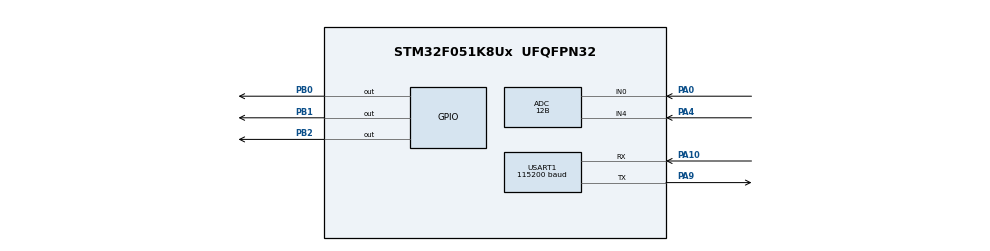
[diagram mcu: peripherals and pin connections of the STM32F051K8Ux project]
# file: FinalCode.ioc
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ADC.ClockPrescaler=ADC_CLOCK_ASYNC_DIV1
ADC.ContinuousConvMode=DISABLE
ADC.DMAContinuousRequests=DISABLE
ADC.DataAlign=ADC_DATAALIGN_RIGHT
ADC.DiscontinuousConvMode=ENABLE
ADC.EOCSelection=ADC_EOC_SINGLE_CONV
ADC.EnableAnalogWatchDog=false
ADC.ExternalTrigConv=ADC_SOFTWARE_START
ADC.ExternalTrigConvEdge=ADC_EXTERNALTRIGCONVEDGE_NONE
ADC.LowPowerAutoPowerOff=DISABLE
ADC.LowPowerAutoWait=DISABLE
ADC.Overrun=ADC_OVR_DATA_PRESERVED
ADC.Resolution=ADC_RESOLUTION_12B
ADC.SamplingTime=ADC_SAMPLETIME_1CYCLE_5
ADC.ScanConvMode=ADC_SCAN_DIRECTION_FORWARD
Mcu.Family=STM32F0
Mcu.Name=STM32F051K8Ux
Mcu.Package=UFQFPN32
PA0.Mode=IN0
PA0.Signal=ADC_IN0
PA10.Mode=Asynchronous
PA10.Signal=USART1_RX
PA4.Mode=IN4
PA4.Signal=ADC_IN4
PA9.Mode=Asynchronous
PA9.Signal=USART1_TX
PB0.Signal=GPIO_Output
PB1.Signal=GPIO_Output
PB2.Signal=GPIO_Output
ProjectManager.HeapSize=0x200
ProjectManager.StackSize=0x400
ProjectManager.TargetToolchain=MDK-ARM V5
USART1.BaudRate=115200
USART1.VirtualMode-Asynchronous=VM_ASYNC
board=FinalCode

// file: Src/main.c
/**
  ******************************************************************************
  * File Name          : main.c
  * Description        : Main program body
  ******************************************************************************
  ** This notice applies to any and all portions of this file
  * that are not between comment pairs USER CODE BEGIN and
  * USER CODE END. Other portions of this file, whether
  * inserted by the user or by software development tools
  * are owned by their respective copyright owners.
  *
  * COPYRIGHT(c) 2021 STMicroelectronics
  *
  * Redistribution and use in source and binary forms, with or without modification,
  * are permitted provided that the following conditions are met:
  *   1. Redistributions of source code must retain the above copyright notice,
  *      this list of conditions and the following disclaimer.
  *   2. Redistributions in binary form must reproduce the above copyright notice,
  *      this list of conditions and the following disclaimer in the documentation
  *      and/or other materials provided with the distribution.
  *   3. Neither the name of STMicroelectronics nor the names of its contributors
  *      may be used to endorse or promote products derived from this software
  *      without specific prior written permission.
  *
  * THIS SOFTWARE IS PROVIDED BY THE COPYRIGHT HOLDERS AND CONTRIBUTORS "AS IS"
  * AND ANY EXPRESS OR IMPLIED WARRANTIES, INCLUDING, BUT NOT LIMITED TO, THE
  * IMPLIED WARRANTIES OF MERCHANTABILITY AND FITNESS FOR A PARTICULAR PURPOSE ARE
  * DISCLAIMED. IN NO EVENT SHALL THE COPYRIGHT HOLDER OR CONTRIBUTORS BE LIABLE
  * FOR ANY DIRECT, INDIRECT, INCIDENTAL, SPECIAL, EXEMPLARY, OR CONSEQUENTIAL
  * DAMAGES (INCLUDING, BUT NOT LIMITED TO, PROCUREMENT OF SUBSTITUTE GOODS OR
  * SERVICES; LOSS OF USE, DATA, OR PROFITS; OR BUSINESS INTERRUPTION) HOWEVER
  * CAUSED AND ON ANY THEORY OF LIABILITY, WHETHER IN CONTRACT, STRICT LIABILITY,
  * OR TORT (INCLUDING NEGLIGENCE OR OTHERWISE) ARISING IN ANY WAY OUT OF THE USE
  * OF THIS SOFTWARE, EVEN IF ADVISED OF THE POSSIBILITY OF SUCH DAMAGE.
  *
  ******************************************************************************
  */
#include "main.h"
#include "stm32f0xx_hal.h"
#include "adc.h"
#include "usart.h"
#include "gpio.h"

/* USER CODE BEGIN Includes */
#include "string.h"
#define LOW 		"Safe"
#define MID 		"Fine"
#define HIGH 		"Danger!!!!"
#define GREEN 	GPIO_PIN_0
#define BLUE 		GPIO_PIN_1
#define YELLOW	GPIO_PIN_2
/* USER CODE END Includes */

/* USER CODE BEGIN PV */
/* Private variables ---------------------------------------------------------*/

/* USER CODE END PV */

void SystemClock_Config(void);

/* USER CODE BEGIN PFP */
/* Private function prototypes -----------------------------------------------*/

/* USER CODE END PFP */

/* USER CODE BEGIN 0 */

/* 重定向UART的发送到标准输出 */
int fputc(int ch, FILE * file){
  while(__HAL_UART_GET_FLAG(&huart1,UART_FLAG_TXE) == RESET);
  huart1.Instance->TDR = ch;
  return ch;
}

/* 处理LED亮灭的函数 */
void LED_All_Off(void){
	HAL_GPIO_WritePin(GPIOB, GPIO_PIN_0, GPIO_PIN_SET);
	HAL_GPIO_WritePin(GPIOB, GPIO_PIN_1, GPIO_PIN_SET);
	HAL_GPIO_WritePin(GPIOB, GPIO_PIN_2, GPIO_PIN_SET);
}
void LED_On(int Color){
	HAL_GPIO_WritePin(GPIOB, Color, GPIO_PIN_RESET);
}
void LED_Off(int Color){
	HAL_GPIO_WritePin(GPIOB, Color, GPIO_PIN_SET);
}

/* USER CODE END 0 */

int main(void)
{

  /* USER CODE BEGIN 1 */
  double value[2];			// 存储ADC检测到的数值
  double Battery;				// 电池电压
  char Level[10];				// 火焰程度
  int Fire;							// 火焰传感器数值
  /* USER CODE END 1 */

  /* MCU Configuration----------------------------------------------------------*/

  /* Reset of all peripherals, Initializes the Flash interface and the Systick. */
  HAL_Init();

  /* USER CODE BEGIN Init */
  LED_All_Off();
  /* USER CODE END Init */

  /* Configure the system clock */
  SystemClock_Config();

  /* Initialize all configured peripherals */
  MX_GPIO_Init();
  MX_ADC_Init();
  MX_USART1_UART_Init();

  /* Infinite loop */
  /* USER CODE BEGIN WHILE */
  while (1)
  {
    /* ADC轮询检测 */
    for(int i=0;i<2;i++){
      HAL_ADC_Start(&hadc);
      HAL_ADC_PollForConversion(&hadc,100);
      value[i] = HAL_ADC_GetValue(&hadc);
      HAL_Delay(200);
    }
    HAL_ADC_Stop(&hadc);

    /* 电压和火焰传感器的数值转换 */
    Battery = value[0]*3.3/4096.0;
    Fire = (int)value[1];
    printf("BAT = %.2lf V\t   ", Battery);
    printf("Fire = %d\n", Fire);

    /* 根据火焰传感器强度分别处理 */
    if(Fire<1000){
      strcpy(Level, LOW);
      LED_On(GREEN);
      LED_Off(YELLOW);
      LED_Off(BLUE);
    }
    else if(Fire>1000 && Fire<1800){
      strcpy(Level, MID);
      LED_On(YELLOW);
      LED_Off(GREEN);
      LED_Off(BLUE);
    }
    else{
      strcpy(Level, HIGH);
      LED_On(BLUE);
      LED_Off(YELLOW);
      LED_Off(GREEN);
    }
    printf("Level = %s\n\n", Level);

  /* USER CODE END WHILE */

  }

}

/** System Clock Configuration
*/
void SystemClock_Config(void)
{

  RCC_OscInitTypeDef RCC_OscInitStruct;
  RCC_ClkInitTypeDef RCC_ClkInitStruct;
  RCC_PeriphCLKInitTypeDef PeriphClkInit;

    /**Initializes the CPU, AHB and APB busses clocks
    */
  RCC_OscInitStruct.OscillatorType = RCC_OSCILLATORTYPE_HSI|RCC_OSCILLATORTYPE_HSI14;
  RCC_OscInitStruct.HSIState = RCC_HSI_ON;
  RCC_OscInitStruct.HSI14State = RCC_HSI14_ON;
  RCC_OscInitStruct.HSICalibrationValue = 16;
  RCC_OscInitStruct.HSI14CalibrationValue = 16;
  RCC_OscInitStruct.PLL.PLLState = RCC_PLL_NONE;
  if (HAL_RCC_OscConfig(&RCC_OscInitStruct) != HAL_OK)
  {
    _Error_Handler(__FILE__, __LINE__);
  }

    /**Initializes the CPU, AHB and APB busses clocks
    */
  RCC_ClkInitStruct.ClockType = RCC_CLOCKTYPE_HCLK|RCC_CLOCKTYPE_SYSCLK
                              |RCC_CLOCKTYPE_PCLK1;
  RCC_ClkInitStruct.SYSCLKSource = RCC_SYSCLKSOURCE_HSI;
  RCC_ClkInitStruct.AHBCLKDivider = RCC_SYSCLK_DIV1;
  RCC_ClkInitStruct.APB1CLKDivider = RCC_HCLK_DIV1;

  if (HAL_RCC_ClockConfig(&RCC_ClkInitStruct, FLASH_LATENCY_0) != HAL_OK)
  {
    _Error_Handler(__FILE__, __LINE__);
  }

  PeriphClkInit.PeriphClockSelection = RCC_PERIPHCLK_USART1;
  PeriphClkInit.Usart1ClockSelection = RCC_USART1CLKSOURCE_PCLK1;
  if (HAL_RCCEx_PeriphCLKConfig(&PeriphClkInit) != HAL_OK)
  {
    _Error_Handler(__FILE__, __LINE__);
  }

    /**Configure the Systick interrupt time
    */
  HAL_SYSTICK_Config(HAL_RCC_GetHCLKFreq()/1000);

    /**Configure the Systick
    */
  HAL_SYSTICK_CLKSourceConfig(SYSTICK_CLKSOURCE_HCLK);

  /* SysTick_IRQn interrupt configuration */
  HAL_NVIC_SetPriority(SysTick_IRQn, 0, 0);
}

void _Error_Handler(char * file, int line)
{
  while(1)
  {
  }
}

/************************ (C) COPYRIGHT STMicroelectronics *****END OF FILE****/
